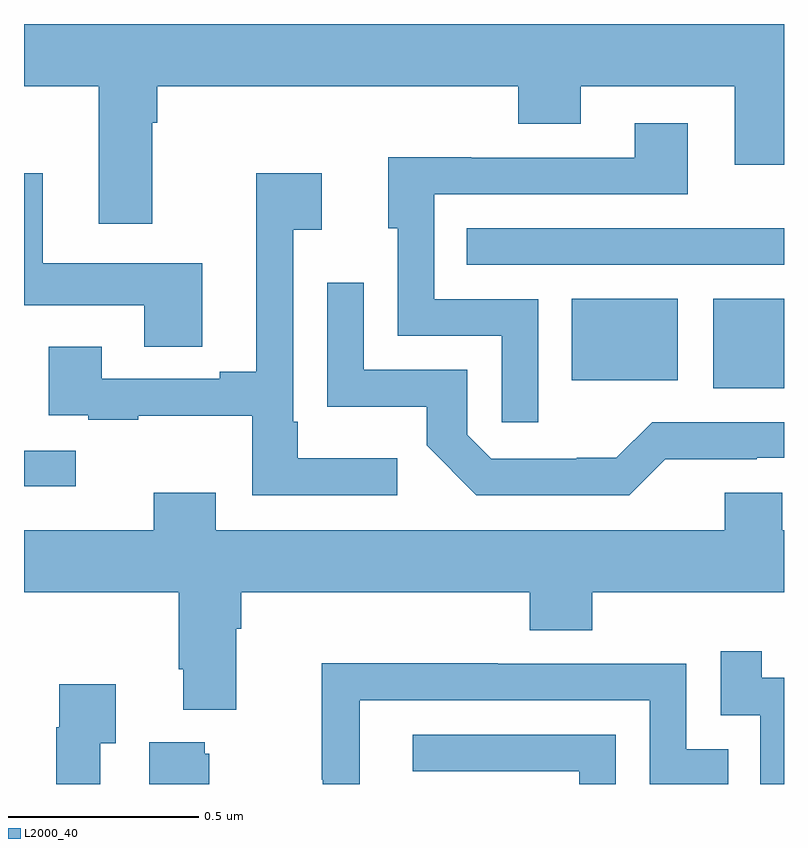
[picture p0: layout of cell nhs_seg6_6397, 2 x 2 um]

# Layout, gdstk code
import gdstk
lib = gdstk.Library(unit=1e-6, precision=1e-09)
def R(c, l, rs):  # rectangles x0, y0, x1, y1
    for r in rs: c.add(gdstk.rectangle(r[:2], r[2:], *l))
def P(c, l, *ps):  # polygons
    for p in ps: c.add(gdstk.Polygon(p, *l))
L2000_40 = (2000, 40)

nhs_seg6_6397 = lib.new_cell('nhs_seg6_6397')
R(nhs_seg6_6397, L2000_40, [(195,946.283,195.136,946.377), (196.814,946.541,197,946.777), (196.442,946.562,196.72,946.777)])
P(nhs_seg6_6397, L2000_40, [(195.337,947.24),(195.35,947.24),(195.35,947.336),(196.301,947.336),(196.301,947.237),(196.465,947.237),(196.465,947.336),(196.871,947.336),(196.871,947.13),(197,947.13),(197,947.5),(195,947.5),(195,947.336),(195.197,947.336),(195.197,946.974),(195.337,946.974)],
  [(196.353,946.776),(196.08,946.776),(196.08,947.052),(196.747,947.052),(196.747,947.239),(196.607,947.239),(196.607,947.148),(196.177,947.148),(196.177,947.15),(195.959,947.15),(195.959,946.962),(195.984,946.962),(195.984,946.68),(196.257,946.68),(196.257,946.452),(196.353,946.452)],
  [(195.982,946.357),(195.721,946.357),(195.721,946.453),(195.708,946.453),(195.708,946.958),(195.784,946.958),(195.784,947.107),(195.611,947.107),(195.611,946.585),(195.515,946.585),(195.515,946.566),(195.205,946.566),(195.205,946.651),(195.065,946.651),(195.065,946.47),(195.169,946.47),(195.169,946.458),(195.301,946.458),(195.301,946.469),(195.6,946.469),(195.6,946.26),(195.982,946.26)],
  [(195.469,946.87),(195.049,946.87),(195.049,947.107),(195,947.107),(195,946.76),(195.317,946.76),(195.317,946.651),(195.469,946.651)],
  [(197,946.963),(196.843,946.963),(196.843,946.962),(196.165,946.962),(196.165,946.866),(197,946.866)],
  [(196.688,946.355),(196.928,946.355),(196.928,946.359),(197,946.359),(197,946.452),(196.653,946.452),(196.559,946.358),(196.454,946.358),(196.454,946.356),(196.23,946.356),(196.167,946.419),(196.167,946.59),(195.894,946.59),(195.894,946.819),(195.798,946.819),(195.798,946.493),(196.06,946.493),(196.06,946.391),(196.19,946.26),(196.593,946.26)],
  [(195.559,945.908),(195.572,945.908),(195.572,946.004),(196.331,946.004),(196.331,945.905),(196.496,945.905),(196.496,946.004),(197,946.004),(197,946.168),(196.995,946.168),(196.995,946.266),(196.844,946.266),(196.844,946.168),(195.505,946.168),(195.505,946.267),(195.341,946.267),(195.341,946.168),(195,946.168),(195,946.004),(195.407,946.004),(195.407,945.802),(195.419,945.802),(195.419,945.695),(195.559,945.695)],
  [(197,945.78),(196.942,945.78),(196.942,945.85),(196.833,945.85),(196.833,945.681),(196.938,945.681),(196.938,945.5),(197,945.5)],
  [(195.883,945.72),(196.647,945.72),(196.647,945.5),(196.853,945.5),(196.853,945.591),(196.743,945.591),(196.743,945.816),(196.247,945.816),(196.247,945.818),(195.784,945.818),(195.784,945.511),(195.786,945.511),(195.786,945.5),(195.883,945.5)],
  [(195.201,945.607),(195.241,945.607),(195.241,945.763),(195.093,945.763),(195.093,945.65),(195.085,945.65),(195.085,945.5),(195.201,945.5)],
  [(196.557,945.63),(196.023,945.63),(196.023,945.534),(196.461,945.534),(196.461,945.5),(196.557,945.5)],
  [(195.487,945.579),(195.476,945.579),(195.476,945.61),(195.329,945.61),(195.329,945.5),(195.487,945.5)])

lib.write_gds('nhs_seg6_6397.gds')
